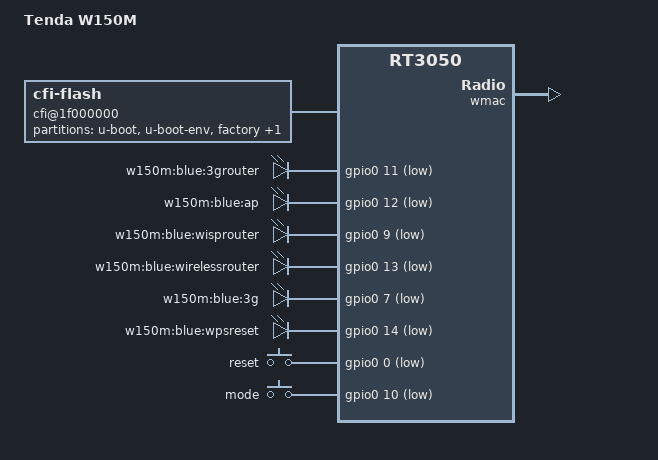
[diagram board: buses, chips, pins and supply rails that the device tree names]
/dts-v1/;

#include "rt3050.dtsi"

#include <dt-bindings/gpio/gpio.h>
#include <dt-bindings/input/input.h>

/ {
	compatible = "tenda,w150m", "ralink,rt3050-soc";
	model = "Tenda W150M";

	aliases {
		led-boot = &led_ap;
		led-failsafe = &led_ap;
		led-running = &led_ap;
		led-upgrade = &led_ap;
	};

	cfi@1f000000 {
		compatible = "cfi-flash";
		reg = <0x1f000000 0x800000>;
		bank-width = <2>;
		device-width = <2>;

		partitions {
			compatible = "fixed-partitions";
			#address-cells = <1>;
			#size-cells = <1>;

			partition@0 {
				label = "u-boot";
				reg = <0x0 0x30000>;
				read-only;
			};

			partition@30000 {
				label = "u-boot-env";
				reg = <0x30000 0x10000>;
				read-only;
			};

			factory: partition@40000 {
				label = "factory";
				reg = <0x40000 0x10000>;
				read-only;
			};

			partition@50000 {
				compatible = "denx,uimage";
				label = "firmware";
				reg = <0x50000 0x3c8000>;
			};
		};
	};

	gpio-leds {
		compatible = "gpio-leds";

		3grouter {
			label = "w150m:blue:3grouter";
			gpios = <&gpio0 11 GPIO_ACTIVE_LOW>;
		};

		led_ap: ap {
			label = "w150m:blue:ap";
			gpios = <&gpio0 12 GPIO_ACTIVE_LOW>;
		};

		wisprouter {
			label = "w150m:blue:wisprouter";
			gpios = <&gpio0 9 GPIO_ACTIVE_LOW>;
		};

		wirelessrouter {
			label = "w150m:blue:wirelessrouter";
			gpios = <&gpio0 13 GPIO_ACTIVE_LOW>;
		};

		3g {
			label = "w150m:blue:3g";
			gpios = <&gpio0 7 GPIO_ACTIVE_LOW>;
		};

		wpsreset {
			label = "w150m:blue:wpsreset";
			gpios = <&gpio0 14 GPIO_ACTIVE_LOW>;
		};
	};

	gpio-keys-polled {
		compatible = "gpio-keys-polled";
		poll-interval = <20>;

		reset {
			label = "reset";
			gpios = <&gpio0 0 GPIO_ACTIVE_LOW>;
			linux,code = <KEY_RESTART>;
		};

		mode {
			label = "mode";
			gpios = <&gpio0 10 GPIO_ACTIVE_LOW>;
			linux,code = <BTN_0>;
		};
	};
};

&pinctrl {
	state_default: pinctrl0 {
		gpio {
			ralink,group = "spi", "i2c", "jtag", "rgmii", "mdio", "uartf";
			ralink,function = "gpio";
		};
	};
};

&ethernet {
	mtd-mac-address = <&factory 0x4>;
};

&esw {
	mediatek,portmap = <0x2f>;
};

&wmac {
	ralink,mtd-eeprom = <&factory 0>;
};
